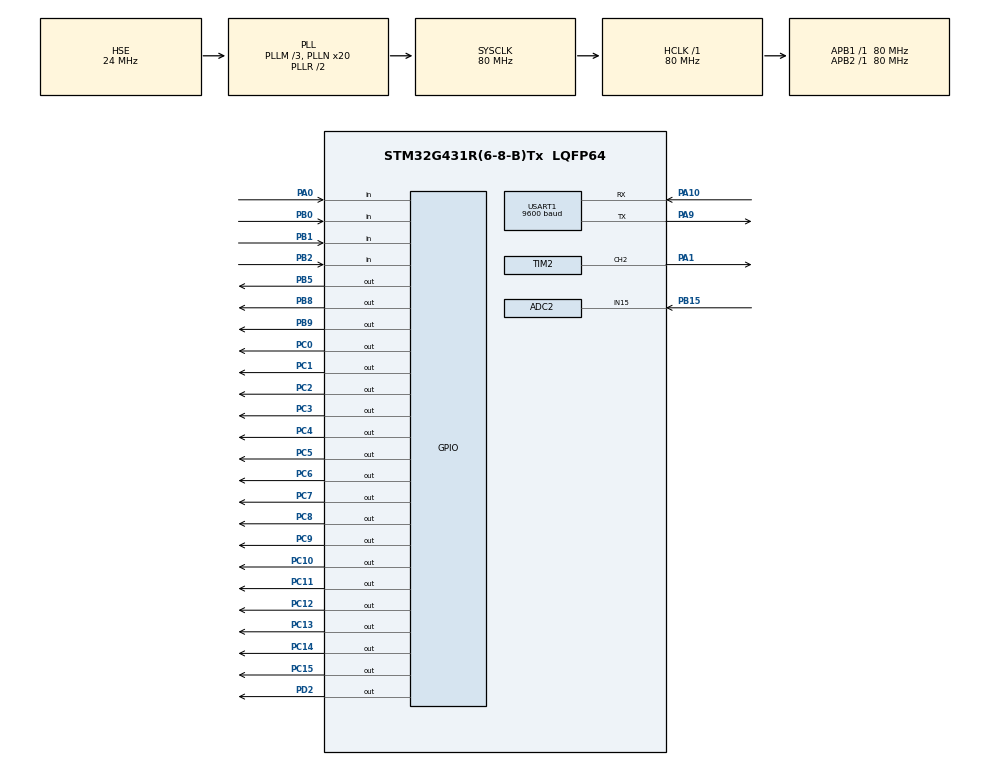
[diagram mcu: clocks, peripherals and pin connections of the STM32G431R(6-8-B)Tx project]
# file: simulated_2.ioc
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ADC2.Channel-0\#ChannelRegularConversion=ADC_CHANNEL_15
ADC2.NbrOfConversionFlag=1
ADC2.OffsetNumber-0\#ChannelRegularConversion=ADC_OFFSET_NONE
ADC2.Rank-0\#ChannelRegularConversion=1
ADC2.SamplingTime-0\#ChannelRegularConversion=ADC_SAMPLETIME_2CYCLES_5
Mcu.Family=STM32G4
Mcu.Name=STM32G431R(6-8-B)Tx
Mcu.Package=LQFP64
NVIC.PriorityGroup=NVIC_PRIORITYGROUP_4
NVIC.TIM1_TRG_COM_TIM17_IRQn=true\:0\:0\:false\:false\:true\:true\:true\:true
NVIC.USART1_IRQn=true\:0\:0\:false\:false\:true\:true\:true\:true
PA0.Signal=GPIO_Input
PA1.Signal=S_TIM2_CH2
PA10.Mode=Asynchronous
PA10.Signal=USART1_RX
PA13.Mode=Serial_Wire
PA13.Signal=SYS_JTMS-SWDIO
PA14.Mode=Serial_Wire
PA14.Signal=SYS_JTCK-SWCLK
PA9.Mode=Asynchronous
PA9.Signal=USART1_TX
PB0.Signal=GPIO_Input
PB1.Signal=GPIO_Input
PB15.Mode=IN15-Single-Ended
PB15.Signal=ADC2_IN15
PB2.Signal=GPIO_Input
PB5.Signal=GPIO_Output
PB8-BOOT0.Signal=GPIO_Output
PB9.Signal=GPIO_Output
PC0.Signal=GPIO_Output
PC1.Signal=GPIO_Output
PC10.Signal=GPIO_Output
PC11.Signal=GPIO_Output
PC12.Signal=GPIO_Output
PC13.Signal=GPIO_Output
PC14-OSC32_IN.Signal=GPIO_Output
PC15-OSC32_OUT.Signal=GPIO_Output
PC2.Signal=GPIO_Output
PC3.Signal=GPIO_Output
PC4.Signal=GPIO_Output
PC5.Signal=GPIO_Output
PC6.Signal=GPIO_Output
PC7.Signal=GPIO_Output
PC8.Signal=GPIO_Output
PC9.Signal=GPIO_Output
PD2.Signal=GPIO_Output
PF0-OSC_IN.Mode=HSE-External-Oscillator
PF0-OSC_IN.Signal=RCC_OSC_IN
PF1-OSC_OUT.Mode=HSE-External-Oscillator
PF1-OSC_OUT.Signal=RCC_OSC_OUT
ProjectManager.HeapSize=0x200
ProjectManager.StackSize=0x400
ProjectManager.TargetToolchain=MDK-ARM V5.32
RCC.ADC12Freq_Value=80000000
RCC.AHBFreq_Value=80000000
RCC.APB1Freq_Value=80000000
RCC.APB1TimFreq_Value=80000000
RCC.APB2Freq_Value=80000000
RCC.APB2TimFreq_Value=80000000
RCC.CortexFreq_Value=80000000
RCC.EXTERNAL_CLOCK_VALUE=12288000
RCC.HCLKFreq_Value=80000000
RCC.HSE_VALUE=24000000
RCC.HSI48_VALUE=48000000
RCC.HSI_VALUE=16000000
RCC.LSE_VALUE=32768
RCC.PLLM=RCC_PLLM_DIV3
RCC.PLLN=20
RCC.PLLSourceVirtual=RCC_PLLSOURCE_HSE
RCC.SYSCLKFreq_VALUE=80000000
RCC.SYSCLKSource=RCC_SYSCLKSOURCE_PLLCLK
RCC.USBFreq_Value=80000000
RCC.VCOOutputFreq_Value=160000000
SH.S_TIM2_CH2.0=TIM2_CH2,PWM Generation2 CH2
TIM17.PeriodNoDither=100-1
TIM17.Prescaler=800-1
TIM2.AutoReloadPreload=TIM_AUTORELOAD_PRELOAD_ENABLE
TIM2.Channel-PWM\ Generation2\ CH2=TIM_CHANNEL_2
TIM2.PeriodNoDither=100-1
TIM2.Prescaler=800-1
USART1.BaudRate=9600
USART1.VirtualMode-Asynchronous=VM_ASYNC
VP_SYS_VS_DBSignals.Mode=DisableDeadBatterySignals
VP_TIM17_VS_ClockSourceINT.Mode=Enable_Timer
board=custom

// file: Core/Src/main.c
/* USER CODE BEGIN Header */
/**
  ******************************************************************************
  * @file           : main.c
  * @brief          : Main program body
  ******************************************************************************
  * @attention
  *
  * Copyright (c) 2025 STMicroelectronics.
  * All rights reserved.
  *
  * This software is licensed under terms that can be found in the LICENSE file
  * in the root directory of this software component.
  * If no LICENSE file comes with this software, it is provided AS-IS.
  *
  ******************************************************************************
  */
/* USER CODE END Header */
#include "main.h"
#include "adc.h"
#include "tim.h"
#include "usart.h"
#include "gpio.h"

/* USER CODE BEGIN PV */
u8 lcd_mod=0;
double 	temp=23.5,V_R37=0.0;
u8 mode=0,gear=1;
int TIM_5S,TIM_5S_CON,TIM_5S_FLAG;
int TIM_3S,TIM_3S_CON,UART_TRANSMIT_FLAG;
u8 B1,B11,B2,B22,B3,B33,B4,B44;
u8 rx[10];
u8 rx_len=0;
u8 rx_count=0;
/* USER CODE END PV */

void SystemClock_Config(void);

/* USER CODE BEGIN 0 */
void uart_proc(void)
{
	if(lcd_mod==0&&strcmp((char *)rx,"")!=0)
	{
			if(strcmp((char *)rx,"B1")==0)
			{
				UART_TRANSMIT_FLAG=1;
				TIM_5S_CON=0;
				TIM_5S=0;
				mode^=1;
				memset(rx,'\0',sizeof(rx));
			}
			else if(strcmp((char *)rx,"B2")==0)
			{
				UART_TRANSMIT_FLAG=1;
				TIM_5S_CON=0;
				TIM_5S=0;
				gear++;
				if(gear>=3) gear=3;
				memset(rx,'\0',sizeof(rx));
			}
			else if(strcmp((char *)rx,"B3")==0)
			{
				UART_TRANSMIT_FLAG=1;
				TIM_5S_CON=0;
				TIM_5S=0;
				gear--;
				if(gear<=1) gear=1;
				memset(rx,'\0',sizeof(rx));
			}
			else
			{
				HAL_UART_Transmit(&huart1,"NULL",4,HAL_MAX_DELAY);
				memset(rx,'\0',sizeof(rx));
			}
	}
	if(lcd_mod==1&&strcmp((char *)rx,"")!=0)
	{
			if(strcmp((char *)rx,"B1")==0||strcmp((char *)rx,"B2")==0||strcmp((char *)rx,"B3")==0)
			{
				UART_TRANSMIT_FLAG=1;
				TIM_5S_CON=0;
				TIM_5S=0;
				LCD_Clear(Black);
				HAL_Delay(10);
				lcd_mod=0;
				memset(rx,'\0',sizeof(rx));
			}
			else
			{
				HAL_UART_Transmit(&huart1,"NULL",4,HAL_MAX_DELAY);
				memset(rx,'\0',sizeof(rx));
			}
	}
}
void lcd_proc(void)
{
	char text[20];
	if(lcd_mod==0)
	{
		sprintf(text,"        DATA      ");
		LCD_DisplayStringLine(Line1, (unsigned char *)text);
		sprintf(text,"     TEMP:%.1f    ",temp);
		LCD_DisplayStringLine(Line3, (unsigned char *)text);
		if(mode==0)	sprintf(text,"     MODE:Auto     ");
		if(mode==1)	sprintf(text,"     MODE:Manu     ");
		LCD_DisplayStringLine(Line4, (unsigned char *)text);
		if(mode==0&&temp<25&&mode==0)	gear=1;
		if(mode==0&&temp>=25&&temp<=30&&mode==0)	gear=2;
		if(mode==0&&temp>30&&mode==0)	gear=3;
		sprintf(text,"     GEAR:%d    ",gear);
		LCD_DisplayStringLine(Line5, (unsigned char *)text);
	}
	else
	{
		sprintf(text,"     SLEEPING      ");
		LCD_DisplayStringLine(Line4, (unsigned char *)text);
		sprintf(text,"     TEMP:%.1f    ",temp);
		LCD_DisplayStringLine(Line5, (unsigned char *)text);

	}
}
void key_proc(void)
{
	u8 key=0;
	if(HAL_GPIO_ReadPin(GPIOB,GPIO_PIN_0)==0)	B1=1;
	else B1=0;
	if(HAL_GPIO_ReadPin(GPIOB,GPIO_PIN_1)==0)	B2=1;
	else B2=0;
	if(HAL_GPIO_ReadPin(GPIOB,GPIO_PIN_2)==0)	B3=1;
	else B3=0;
	if(B1==1&&B11==0)
	{B11=1;
		if(lcd_mod==1)	key=1;
		else
		{
			key=1;
			mode^=1;
		}
	}if(B11==1&&B1==0)	B11=0;

	if(B2==1&&B22==0)
	{B22=1;
		if(lcd_mod==1)	key=1;
		else
		{
			key=1;
			if(mode==1)
			{
				gear++;
				if(gear>=3) gear=3;
			}
		}
	}if(B22==1&&B2==0)	B22=0;

	if(B3==1&&B33==0)
	{B33=1;
		if(lcd_mod==1)	key=1;
		else
		{
			key=1;
			if(mode==1)
			{
				gear--;
				if(gear<=1) gear=1;
			}
		}
	}if(B33==1&&B3==0)	B33=0;

	if(key==1&&lcd_mod==0)
	{
		TIM_5S_CON=0;
		TIM_5S=0;
	}
	else if(key==0&&lcd_mod==0)	TIM_5S_CON=1;

	if(key==0&&lcd_mod==1)
	{
		TIM_5S_CON=0;
		TIM_5S=0;
	}
	else if(key==1&&lcd_mod==1)
	{
		LCD_Clear(Black);
		lcd_mod=0;
		TIM_5S_CON=0;
		TIM_5S=0;
	}
}
void HAL_TIM_PeriodElapsedCallback(TIM_HandleTypeDef *htim)
{
	if(htim->Instance==TIM17)
	{
		if(TIM_5S_CON==1)
		if(++TIM_5S==5000)
		{
			TIM_5S=0;
			TIM_5S_FLAG=1;
		}
		if(TIM_3S_CON==1)
		if(++TIM_3S==3000)
		{
			TIM_3S=0;
			TIM_3S_CON=0;
		}
	}
}
/* USER CODE END 0 */

int main(void)
{

  /* MCU Configuration--------------------------------------------------------*/

  /* Reset of all peripherals, Initializes the Flash interface and the Systick. */
  HAL_Init();

  /* Configure the system clock */
  SystemClock_Config();

  /* Initialize all configured peripherals */
  MX_GPIO_Init();
  MX_ADC2_Init();
  MX_TIM2_Init();
  MX_TIM17_Init();
  MX_USART1_UART_Init();
  /* USER CODE BEGIN 2 */
	LCD_Init();
  /* USER CODE END 2 */

  /* Infinite loop */
  /* USER CODE BEGIN WHILE */
	LCD_SetBackColor(Black);
	LCD_SetTextColor(White);
	LCD_Clear(Black);
	HAL_TIM_Base_Start_IT(&htim17);
	__HAL_UART_ENABLE_IT(&huart1,UART_IT_IDLE);
	__HAL_UART_ENABLE_IT(&huart1,UART_IT_RXNE);
	HAL_TIM_PWM_Start(&htim2,TIM_CHANNEL_2);
	TIM2->PSC=100-1;
	TIM2->ARR=400-1;
  while (1)
  {
	  uart_proc();
	  HAL_ADC_Start(&hadc2);
	  V_R37=HAL_ADC_GetValue(&hadc2)/4095.0*3.3;
	  temp=10.0*V_R37+10.0;
	  if(V_R37<=1) temp=20;
	  if(V_R37>=3) temp=40;
    /* USER CODE END WHILE */

    /* USER CODE BEGIN 3 */
	  if(TIM_5S_FLAG==1)
	  {
		  TIM_5S_FLAG=0;
		  LCD_Clear(Black);
		  lcd_mod=1;
	  }
	  lcd_proc();key_proc();
	  uint32_t pulse;
	  if(gear==1)	pulse = (htim2.Instance->ARR + 1) * 0.1;
	  if(gear==2)	pulse = (htim2.Instance->ARR + 1) * 0.4;
	  if(gear==3)	pulse = (htim2.Instance->ARR + 1) * 0.8;
	  __HAL_TIM_SetCompare(&htim2,TIM_CHANNEL_2,pulse);

	  HAL_GPIO_WritePin(GPIOC,(uint16_t)0xff00,1);
	  if(mode==0)	HAL_GPIO_WritePin(GPIOC,(uint16_t)0x8000,0);
	  if(gear==1)	HAL_GPIO_WritePin(GPIOC,(uint16_t)0x0100,0);
	  if(gear==2)	HAL_GPIO_WritePin(GPIOC,(uint16_t)0x0200,0);
	  if(gear==3)	HAL_GPIO_WritePin(GPIOC,(uint16_t)0x0400,0);
	  if(UART_TRANSMIT_FLAG==1)
	  {
		  UART_TRANSMIT_FLAG=0;
		  TIM_3S_CON=1;
	  }
	  HAL_GPIO_WritePin(GPIOC,(uint16_t)0x0800,!TIM_3S_CON);
	  HAL_GPIO_WritePin(GPIOD,GPIO_PIN_2,1);
	  HAL_GPIO_WritePin(GPIOD,GPIO_PIN_2,0);
  }
  /* USER CODE END 3 */
}

void SystemClock_Config(void)
{
  RCC_OscInitTypeDef RCC_OscInitStruct = {0};
  RCC_ClkInitTypeDef RCC_ClkInitStruct = {0};

  /** Configure the main internal regulator output voltage
  */
  HAL_PWREx_ControlVoltageScaling(PWR_REGULATOR_VOLTAGE_SCALE1);

  /** Initializes the RCC Oscillators according to the specified parameters
  * in the RCC_OscInitTypeDef structure.
  */
  RCC_OscInitStruct.OscillatorType = RCC_OSCILLATORTYPE_HSE;
  RCC_OscInitStruct.HSEState = RCC_HSE_ON;
  RCC_OscInitStruct.PLL.PLLState = RCC_PLL_ON;
  RCC_OscInitStruct.PLL.PLLSource = RCC_PLLSOURCE_HSE;
  RCC_OscInitStruct.PLL.PLLM = RCC_PLLM_DIV3;
  RCC_OscInitStruct.PLL.PLLN = 20;
  RCC_OscInitStruct.PLL.PLLP = RCC_PLLP_DIV2;
  RCC_OscInitStruct.PLL.PLLQ = RCC_PLLQ_DIV2;
  RCC_OscInitStruct.PLL.PLLR = RCC_PLLR_DIV2;
  if (HAL_RCC_OscConfig(&RCC_OscInitStruct) != HAL_OK)
  {
    Error_Handler();
  }

  /** Initializes the CPU, AHB and APB buses clocks
  */
  RCC_ClkInitStruct.ClockType = RCC_CLOCKTYPE_HCLK|RCC_CLOCKTYPE_SYSCLK
                              |RCC_CLOCKTYPE_PCLK1|RCC_CLOCKTYPE_PCLK2;
  RCC_ClkInitStruct.SYSCLKSource = RCC_SYSCLKSOURCE_PLLCLK;
  RCC_ClkInitStruct.AHBCLKDivider = RCC_SYSCLK_DIV1;
  RCC_ClkInitStruct.APB1CLKDivider = RCC_HCLK_DIV1;
  RCC_ClkInitStruct.APB2CLKDivider = RCC_HCLK_DIV1;

  if (HAL_RCC_ClockConfig(&RCC_ClkInitStruct, FLASH_LATENCY_2) != HAL_OK)
  {
    Error_Handler();
  }
}

void Error_Handler(void)
{
  __disable_irq();
  while (1)
  {
  }
}
